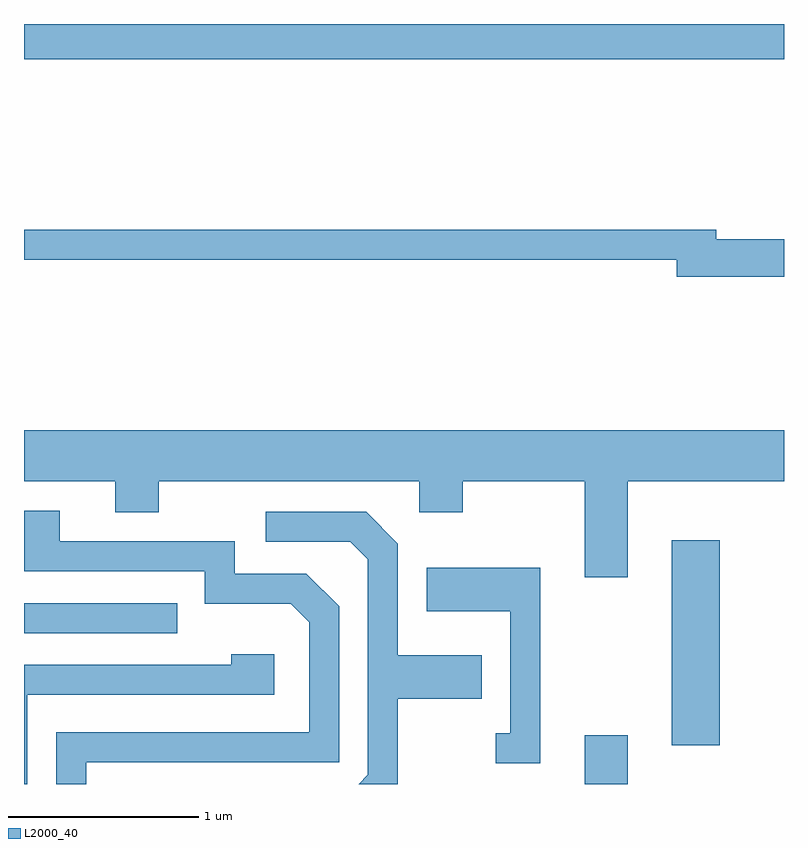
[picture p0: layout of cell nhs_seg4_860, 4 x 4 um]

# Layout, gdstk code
import gdstk
lib = gdstk.Library(unit=1e-6, precision=1e-09)
def R(c, l, rs):  # rectangles x0, y0, x1, y1
    for r in rs: c.add(gdstk.rectangle(r[:2], r[2:], *l))
def P(c, l, *ps):  # polygons
    for p in ps: c.add(gdstk.Polygon(p, *l))
L2000_40 = (2000, 40)

nhs_seg4_860 = lib.new_cell('nhs_seg4_860')
R(nhs_seg4_860, L2000_40, [(212.561,1341.982,212.789,1342.239), (213.021,1342.186,213.274,1343.264), (209.611,1342.776,210.418,1342.934), (209.611,1345.796,213.611,1345.982)])
P(nhs_seg4_860, L2000_40, [(213.611,1344.849),(213.254,1344.849),(213.254,1344.899),(209.611,1344.899),(209.611,1344.741),(213.046,1344.741),(213.046,1344.651),(213.611,1344.651)],
  [(212.789,1343.576),(213.611,1343.576),(213.611,1343.844),(209.611,1343.844),(209.611,1343.576),(210.091,1343.576),(210.091,1343.411),(210.319,1343.411),(210.319,1343.576),(211.691,1343.576),(211.691,1343.411),(211.919,1343.411),(211.919,1343.576),(212.561,1343.576),(212.561,1343.071),(212.789,1343.071)],
  [(209.939,1342.096),(211.269,1342.096),(211.269,1342.917),(211.097,1343.089),(210.719,1343.089),(210.719,1343.259),(209.799,1343.259),(209.799,1343.419),(209.611,1343.419),(209.611,1343.101),(210.561,1343.101),(210.561,1342.931),(211.014,1342.931),(211.111,1342.834),(211.111,1342.254),(209.781,1342.254),(209.781,1341.982),(209.939,1341.982)],
  [(211.579,1342.431),(212.019,1342.431),(212.019,1342.659),(211.579,1342.659),(211.579,1343.247),(211.412,1343.414),(210.883,1343.414),(210.883,1343.256),(211.329,1343.256),(211.421,1343.164),(211.421,1342.032),(211.372,1341.982),(211.579,1341.982)],
  [(212.329,1343.119),(211.731,1343.119),(211.731,1342.891),(212.171,1342.891),(212.171,1342.249),(212.093,1342.249),(212.093,1342.091),(212.329,1342.091)],
  [(209.629,1342.451),(210.929,1342.451),(210.929,1342.664),(210.701,1342.664),(210.701,1342.609),(209.611,1342.609),(209.611,1341.982),(209.629,1341.982)])

lib.write_gds('nhs_seg4_860.gds')
